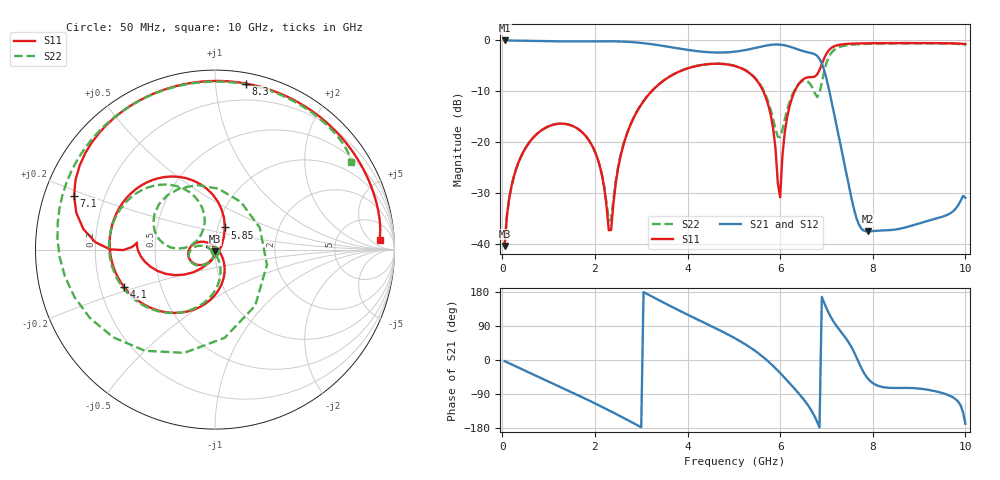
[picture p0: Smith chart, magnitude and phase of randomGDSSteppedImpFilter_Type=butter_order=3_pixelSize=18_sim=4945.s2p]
! freq	dB(S11)	phase(S11)	dB(S12)	phase(S12)
!  dB(S21)	phase(S21)	dB(S22)	phase(S22)
!S-par simulation data
#  GHz  S  DB  R 50
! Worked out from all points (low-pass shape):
!   200 points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, 50 MHz to 10 GHz, reference 50 ohm
!   highest |S21| = -0.01 dB at 50 MHz (marker M1); lowest = -37.5 dB at 7.9 GHz (marker M2)
!   |S21| within 3 dB of the highest: start of sweep to 6.795 GHz
!   lowest |S11| = -40.4 dB at 50 MHz (marker M3), VSWR 1.02, Z = 50 - j0.957 ohm
!   |S11| at or under -10 dB: start of sweep to 3.224 GHz; 5.635 GHz to 6.314 GHz (678.8 MHz wide, 11.4 % of centre)
!   |S22| runs from -40.4 to -0.6 dB; largest |S21 - S12| = 0
!   S11 on the Smith chart (normalised r, x): 50 MHz: 1.00, -0.02; 4.1 GHz: 0.30, -0.18; 5.85 GHz: 1.08, +0.27; 7.1 GHz: 0.09, +0.18; 8.3 GHz: 0.07, +1.20; 10 GHz: 16, +12
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0.05  -40.38 -87.4  -0.01 -2.9  -0.01 -2.9  -40.41 -89.3
0.2  -28.58 -101.6  -0.03 -11.5  -0.03 -11.5  -28.56 -100.9
0.55  -20.46 -122.8  -0.08 -31.5  -0.08 -31.5  -20.46 -121.0
1.75  -18.27 165.1  -0.18 -99.6  -0.18 -99.6  -18.26 175.2
2.1  -24.50 138.0  -0.16 -120.4  -0.16 -120.4  -24.43 162.8
2.35  -37.23 11.4  -0.17 -135.8  -0.17 -135.8  -35.14 -110.5
2.65  -19.49 -60.1  -0.25 -154.8  -0.25 -154.8  -19.40 -73.7
3.4  -8.49 -113.8  -0.97 156.7  -0.97 156.7  -8.46 -114.7
4.1  -5.22 -157.8  -1.99 113.8  -1.99 113.8  -5.21 -155.2
5.05  -5.10 143.1  -2.18 55.6  -2.18 55.6  -5.07 150.3
5.85  -17.37 66.1  -0.83 -15.9  -0.83 -15.9  -15.53 109.8
6  -30.83 -74.7  -0.83 -34.3  -0.83 -34.3  -19.00 153.2
6.2  -13.05 -141.1  -1.20 -60.6  -1.20 -60.6  -12.16 177.3
6.5  -7.63 -174.9  -2.11 -102.8  -2.11 -102.8  -7.92 140.9
6.7  -7.20 174.9  -2.55 -138.7  -2.55 -138.7  -9.36 87.0
6.9  -4.66 179.9  -4.52 166.7  -4.52 166.7  -8.30 -54.4
7.1  -1.51 159.1  -11.55 112.1  -11.55 112.1  -2.51 -139.3
7.35  -0.76 135.0  -22.70 68.6  -22.70 68.6  -1.12 176.3
7.9  -0.56 100.1  -37.53 -49.9  -37.53 -49.9  -0.68 131.0
8.3  -0.53 79.5  -37.30 -72.9  -37.30 -72.9  -0.60 108.9
8.35  -0.52 77.0  -37.27 -73.4  -37.27 -73.4  -0.60 106.3
10  -0.71 3.3  -30.91 -168.1  -30.91 -168.1  -0.91 32.9
